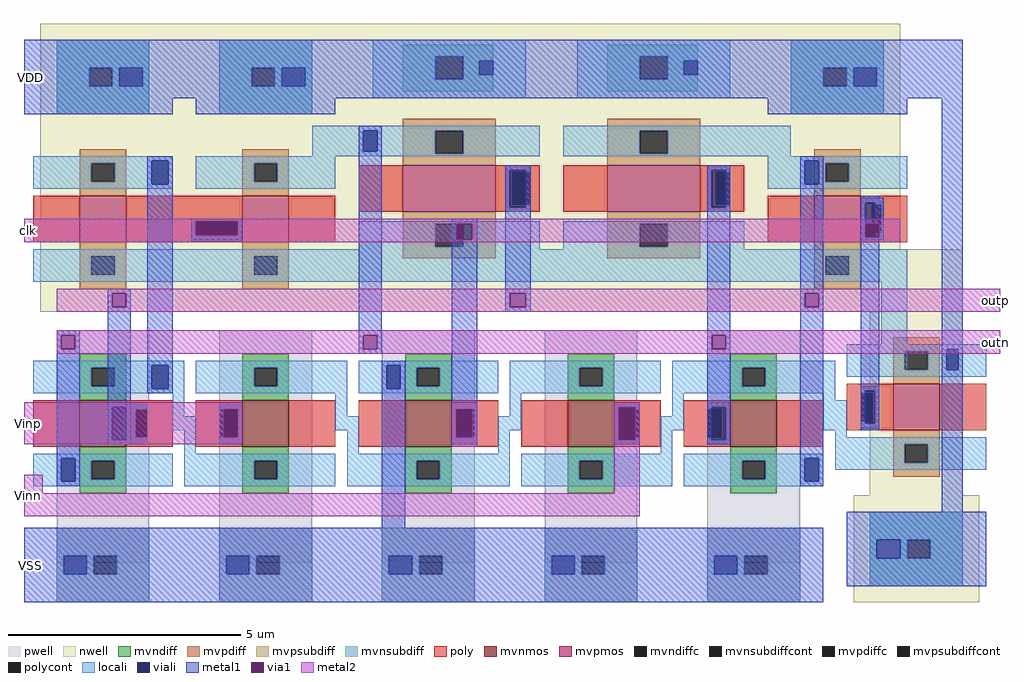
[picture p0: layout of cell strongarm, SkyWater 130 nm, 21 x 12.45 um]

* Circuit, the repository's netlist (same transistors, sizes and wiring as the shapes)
* NGSPICE file created from strongarm.ext - technology: sky130A

.subckt x5v_pfet_1_1 S B G D
X0 D G S B sky130_fd_pr__pfet_g5v0d10v5 ad=1 pd=4 as=1 ps=4 w=1 l=1
.ends

.subckt x5v_pfet_1_2 B D G S
X0 D G S B sky130_fd_pr__pfet_g5v0d10v5 ad=2 pd=6 as=2 ps=6 w=2 l=1
.ends

.subckt x5v_nfet_1_1 S B G D
X0 D G S B sky130_fd_pr__nfet_g5v0d10v5 ad=1 pd=4 as=1 ps=4 w=1 l=1
.ends

.subckt strongarm Vinp Vinn clk outp outn VDD VSS
X5v_pfet_1_1_1 VDD VDD clk outn x5v_pfet_1_1
X5v_pfet_1_1_0 VDD VDD clk 5v_pfet_1_1_0/D x5v_pfet_1_1
X5v_pfet_1_1_2 VDD VDD clk outp x5v_pfet_1_1
X5v_pfet_1_1_3 VDD VDD clk 5v_pfet_1_1_3/D x5v_pfet_1_1
X5v_pfet_1_2_0 VDD outn outp VDD x5v_pfet_1_2
X5v_pfet_1_2_1 VDD outp outn VDD x5v_pfet_1_2
X5v_nfet_1_1_0 5v_pfet_1_1_0/D VSS outp outn x5v_nfet_1_1
X5v_nfet_1_1_2 VSS VSS clk 5v_nfet_1_1_3/S x5v_nfet_1_1
X5v_nfet_1_1_1 5v_nfet_1_1_3/S VSS Vinp 5v_pfet_1_1_0/D x5v_nfet_1_1
X5v_nfet_1_1_3 5v_nfet_1_1_3/S VSS Vinn 5v_pfet_1_1_3/D x5v_nfet_1_1
X5v_nfet_1_1_4 5v_pfet_1_1_3/D VSS outn outp x5v_nfet_1_1
.ends

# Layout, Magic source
magic
tech sky130A
<< nwell >>
rect 15 760 1865 1245
rect 15 625 2000 760
rect 1800 615 2000 625
<< poly >>
rect 200 816 450 875
rect 200 794 354 816
rect 404 794 450 816
rect 200 775 450 794
<< polycont >>
rect 1030 855 1070 925
rect 1470 855 1500 925
rect 354 794 404 816
rect 1805 795 1825 855
rect 220 355 245 415
rect 400 355 430 415
rect 920 355 950 415
rect 1270 355 1305 415
rect 1450 355 1480 415
rect 1780 390 1805 450
<< locali >>
rect 600 1015 750 1025
rect 600 970 710 1015
rect 740 970 750 1015
rect 600 960 750 970
rect 1505 960 1630 1025
rect 1015 930 1070 940
rect 1015 850 1025 930
rect 1060 925 1070 930
rect 1060 850 1070 855
rect 1015 840 1070 850
rect 1450 930 1500 940
rect 1450 850 1460 930
rect 1490 925 1500 930
rect 1490 850 1500 855
rect 1450 840 1500 850
rect 1780 860 1830 870
rect 340 820 450 825
rect 340 790 350 820
rect 440 790 450 820
rect 340 780 450 790
rect 1780 790 1790 860
rect 1810 855 1830 860
rect 1825 795 1830 855
rect 1810 790 1830 795
rect 1780 780 1830 790
rect 0 690 1880 760
rect 1825 555 1880 690
rect 160 420 245 430
rect 160 350 170 420
rect 200 415 245 420
rect 200 355 220 415
rect 300 400 325 520
rect 400 415 450 430
rect 300 370 350 400
rect 200 350 245 355
rect 160 340 245 350
rect 325 250 350 370
rect 440 355 450 415
rect 650 400 675 520
rect 900 415 955 430
rect 650 370 700 400
rect 400 340 450 355
rect 675 250 700 370
rect 900 355 910 415
rect 950 355 955 415
rect 1025 400 1050 520
rect 900 340 955 355
rect 1000 370 1050 400
rect 1250 420 1305 430
rect 1000 250 1025 370
rect 1250 350 1260 420
rect 1295 415 1305 420
rect 1375 400 1400 520
rect 1700 435 1725 520
rect 1845 485 1880 555
rect 1780 455 1820 465
rect 1780 450 1790 455
rect 1295 350 1305 355
rect 1250 340 1305 350
rect 1350 370 1400 400
rect 1450 420 1500 430
rect 1450 415 1460 420
rect 1350 250 1375 370
rect 1450 350 1460 355
rect 1490 350 1500 420
rect 1700 370 1750 435
rect 1780 385 1790 390
rect 1810 385 1820 455
rect 1780 375 1820 385
rect 1450 340 1500 350
rect 1725 285 1750 370
<< viali >>
rect 710 970 740 1015
rect 255 900 290 950
rect 1025 925 1060 930
rect 1025 855 1030 925
rect 1030 855 1060 925
rect 1025 850 1060 855
rect 1460 925 1490 930
rect 1460 855 1470 925
rect 1470 855 1490 925
rect 1660 900 1690 950
rect 1460 850 1490 855
rect 350 816 440 820
rect 350 794 354 816
rect 354 794 404 816
rect 404 794 440 816
rect 350 790 440 794
rect 1790 855 1810 860
rect 1790 795 1805 855
rect 1805 795 1810 855
rect 1790 790 1810 795
rect 255 460 290 510
rect 170 350 200 420
rect 60 260 90 310
rect 410 355 430 415
rect 430 355 440 415
rect 760 460 790 510
rect 910 355 920 415
rect 920 355 945 415
rect 1260 415 1295 420
rect 1260 355 1270 415
rect 1270 355 1295 415
rect 1965 500 1990 545
rect 1790 450 1810 455
rect 1260 350 1295 355
rect 1460 415 1490 420
rect 1460 355 1480 415
rect 1480 355 1490 415
rect 1460 350 1490 355
rect 1790 390 1805 450
rect 1805 390 1810 450
rect 1790 385 1810 390
rect 1660 260 1690 310
<< metal1 >>
rect -20 1085 2000 1210
rect -20 1050 10 1085
rect 700 1015 750 1025
rect 700 970 710 1015
rect 740 970 750 1015
rect 245 950 300 960
rect 245 900 255 950
rect 290 900 300 950
rect 160 665 210 675
rect 160 635 170 665
rect 200 635 210 665
rect 50 575 100 585
rect 50 545 60 575
rect 90 545 100 575
rect 50 310 100 545
rect 160 420 210 635
rect 245 510 300 900
rect 340 820 450 825
rect 340 790 350 820
rect 440 790 450 820
rect 340 775 450 790
rect 700 575 750 970
rect 1650 950 1700 960
rect 1015 930 1070 940
rect 1015 850 1025 930
rect 1060 850 1070 930
rect 700 545 710 575
rect 740 545 750 575
rect 700 535 750 545
rect 900 815 955 825
rect 900 780 910 815
rect 945 780 955 815
rect 245 460 255 510
rect 290 460 300 510
rect 245 450 300 460
rect 750 510 800 520
rect 750 460 760 510
rect 790 460 800 510
rect 160 350 170 420
rect 200 350 210 420
rect 160 340 210 350
rect 400 415 450 430
rect 400 355 410 415
rect 440 355 450 415
rect 400 340 450 355
rect 50 260 60 310
rect 90 260 100 310
rect 50 250 100 260
rect 750 160 800 460
rect 900 415 955 780
rect 1015 665 1070 850
rect 1015 635 1025 665
rect 1060 635 1070 665
rect 1015 625 1070 635
rect 1450 930 1500 940
rect 1450 850 1460 930
rect 1490 850 1500 930
rect 1450 575 1500 850
rect 1450 545 1460 575
rect 1490 545 1500 575
rect 900 355 910 415
rect 945 355 955 415
rect 900 340 955 355
rect 1250 420 1305 430
rect 1250 350 1260 420
rect 1295 350 1305 420
rect 1250 340 1305 350
rect 1450 420 1500 545
rect 1450 350 1460 420
rect 1490 350 1500 420
rect 1450 340 1500 350
rect 1650 900 1660 950
rect 1690 900 1700 950
rect 1650 665 1700 900
rect 1650 635 1660 665
rect 1690 635 1700 665
rect 1650 310 1700 635
rect 1780 870 1820 875
rect 1780 860 1830 870
rect 1780 785 1790 860
rect 1810 815 1830 860
rect 1820 785 1830 815
rect 1780 780 1830 785
rect 1780 455 1820 780
rect 1780 385 1790 455
rect 1810 385 1820 455
rect 1780 370 1820 385
rect 1955 545 2000 1085
rect 1955 500 1965 545
rect 1990 500 2000 545
rect 1650 260 1660 310
rect 1690 260 1700 310
rect 1650 250 1700 260
rect -20 0 1700 160
rect 1955 35 2000 500
<< via1 >>
rect 170 635 200 665
rect 60 545 90 575
rect 350 790 440 820
rect 710 545 740 575
rect 910 780 945 815
rect 410 355 440 415
rect 1025 635 1060 665
rect 1460 545 1490 575
rect 910 355 945 415
rect 1260 350 1295 420
rect 1660 635 1690 665
rect 1790 790 1810 815
rect 1810 790 1820 815
rect 1790 785 1820 790
<< metal2 >>
rect -20 820 1865 825
rect -20 790 350 820
rect 440 815 1865 820
rect 440 790 910 815
rect -20 780 910 790
rect 945 785 1790 815
rect 1820 785 1865 815
rect 945 780 1865 785
rect -20 775 1865 780
rect 50 665 2080 675
rect 50 635 170 665
rect 200 635 1025 665
rect 1060 635 1660 665
rect 1690 635 2080 665
rect 50 625 2080 635
rect 50 575 2080 585
rect 50 545 60 575
rect 90 545 710 575
rect 740 545 1460 575
rect 1490 545 2080 575
rect 50 535 2080 545
rect -20 415 450 430
rect -20 355 410 415
rect 440 355 450 415
rect -20 340 450 355
rect 900 415 955 430
rect 900 355 910 415
rect 945 355 955 415
rect 900 335 955 355
rect 1250 420 1305 430
rect 1250 350 1260 420
rect 1295 350 1305 420
rect -20 235 20 275
rect 1250 235 1305 350
rect -20 185 1305 235
use 5v_nfet_1_1  5v_nfet_1_1_0
transform 0 1 100 -1 0 435
box -150 -100 435 200
use 5v_nfet_1_1  5v_nfet_1_1_1
transform 0 1 450 -1 0 435
box -150 -100 435 200
use 5v_nfet_1_1  5v_nfet_1_1_2
transform 0 1 800 -1 0 435
box -150 -100 435 200
use 5v_nfet_1_1  5v_nfet_1_1_3
transform 0 1 1150 -1 0 435
box -150 -100 435 200
use 5v_nfet_1_1  5v_nfet_1_1_4
transform 0 1 1500 -1 0 435
box -150 -100 435 200
use 5v_pfet_1_1  5v_pfet_1_1_0
transform 0 -1 200 1 0 775
box -150 -100 470 200
use 5v_pfet_1_1  5v_pfet_1_1_1
transform 0 -1 550 1 0 775
box -150 -100 470 200
use 5v_pfet_1_1  5v_pfet_1_1_2
transform 0 -1 1780 1 0 775
box -150 -100 470 200
use 5v_pfet_1_1  5v_pfet_1_1_3
transform 0 1 1850 -1 0 470
box -150 -100 470 200
use 5v_pfet_1_2  5v_pfet_1_2_0
transform 0 -1 995 1 0 840
box -215 -95 400 295
use 5v_pfet_1_2  5v_pfet_1_2_1
transform 0 -1 1435 1 0 840
box -215 -95 400 295
<< labels >>
rlabel metal2 -20 340 0 430 7 Vinp
port 1 w
rlabel metal2 -20 185 0 275 7 Vinn
port 2 w
rlabel metal2 -20 775 0 825 7 clk
port 3 w
rlabel metal2 2060 625 2080 675 3 outp
port 4 e
rlabel metal2 2060 535 2080 585 3 outn
port 5 e
rlabel metal1 -20 0 10 160 7 VSS
port 7 w
rlabel metal1 -20 1050 10 1210 7 VDD
port 6 w
<< end >>

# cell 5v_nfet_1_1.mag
magic
tech sky130A
<< pwell >>
rect -150 -50 350 150
<< mvnmos >>
rect 0 0 100 100
<< mvndiff >>
rect -100 75 0 100
rect -100 25 -70 75
rect -30 25 0 75
rect -100 0 0 25
rect 100 75 200 100
rect 100 25 130 75
rect 170 25 200 75
rect 100 0 200 25
<< mvndiffc >>
rect -70 25 -30 75
rect 130 25 170 75
<< mvpsubdiff >>
rect 275 80 435 150
rect 275 30 335 80
rect 375 30 435 80
rect 275 -50 435 30
<< mvpsubdiffcont >>
rect 335 30 375 80
<< poly >>
rect 0 100 100 200
rect 0 -100 100 0
<< locali >>
rect -85 75 -15 200
rect -85 25 -70 75
rect -30 25 -15 75
rect -85 -100 -15 25
rect 115 75 185 200
rect 115 25 130 75
rect 170 25 185 75
rect 115 -100 185 25
rect 275 80 435 150
rect 275 30 335 80
rect 375 30 435 80
rect 275 15 435 30
rect 275 -35 335 15
rect 375 -35 435 15
rect 275 -50 435 -35
<< viali >>
rect 335 -35 375 15
<< metal1 >>
rect 275 15 435 200
rect 275 -35 335 15
rect 375 -35 435 15
rect 275 -100 435 -35
<< labels >>
rlabel locali -50 195 -50 195 5 S
port 1 s
rlabel poly 50 195 50 195 5 G
port 3 s
rlabel locali 150 195 150 195 5 D
port 4 s
rlabel metal1 360 195 360 195 5 B
port 2 s
<< end >>

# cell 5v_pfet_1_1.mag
magic
tech sky130A
<< nwell >>
rect 240 150 470 185
rect -150 -50 470 150
rect 240 -85 470 -50
<< mvpmos >>
rect 0 0 100 100
<< mvpdiff >>
rect -100 75 0 100
rect -100 25 -70 75
rect -30 25 0 75
rect -100 0 0 25
rect 100 75 200 100
rect 100 25 130 75
rect 170 25 200 75
rect 100 0 200 25
<< mvpdiffc >>
rect -70 25 -30 75
rect 130 25 170 75
<< mvnsubdiff >>
rect 275 80 435 150
rect 275 30 335 80
rect 375 30 435 80
rect 275 -50 435 30
<< mvnsubdiffcont >>
rect 335 30 375 80
<< poly >>
rect 0 100 100 200
rect 0 -100 100 0
<< locali >>
rect -85 75 -15 200
rect -85 25 -70 75
rect -30 25 -15 75
rect -85 -100 -15 25
rect 115 75 185 200
rect 115 25 130 75
rect 170 25 185 75
rect 115 -100 185 25
rect 275 80 435 150
rect 275 30 335 80
rect 375 30 435 80
rect 275 15 435 30
rect 275 -35 335 15
rect 375 -35 435 15
rect 275 -50 435 -35
<< viali >>
rect 335 -35 375 15
<< metal1 >>
rect 275 15 435 200
rect 275 -35 335 15
rect 375 -35 435 15
rect 275 -100 435 -35
<< labels >>
rlabel locali -50 195 -50 195 5 S
port 1 s
rlabel poly 50 195 50 195 5 G
port 3 s
rlabel locali 150 195 150 195 5 D
port 4 s
rlabel metal1 360 195 360 195 5 B
port 2 s
<< end >>

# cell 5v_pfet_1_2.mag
magic
tech sky130A
<< nwell >>
rect -215 -65 370 265
<< mvpmos >>
rect 0 0 100 200
<< mvpdiff >>
rect -100 130 0 200
rect -100 70 -75 130
rect -25 70 0 130
rect -100 0 0 70
rect 100 130 200 200
rect 100 70 125 130
rect 175 70 200 130
rect 100 0 200 70
<< mvpdiffc >>
rect -75 70 -25 130
rect 125 70 175 130
<< mvnsubdiff >>
rect 260 130 360 200
rect 260 70 285 130
rect 335 70 360 130
rect 260 5 360 70
<< mvnsubdiffcont >>
rect 285 70 335 130
<< poly >>
rect 0 200 100 295
rect 0 -95 100 0
<< locali >>
rect -85 130 -20 295
rect -85 70 -75 130
rect -25 70 -20 130
rect -85 -95 -20 70
rect 120 130 185 295
rect 120 70 125 130
rect 175 70 185 130
rect 120 -95 185 70
rect 245 130 370 265
rect 245 70 285 130
rect 335 70 370 130
rect 245 35 370 70
rect 245 5 295 35
rect 325 5 370 35
rect 245 -65 370 5
<< viali >>
rect 295 5 325 35
<< metal1 >>
rect 245 35 370 295
rect 245 5 295 35
rect 325 5 370 35
rect 245 -95 370 5
<< labels >>
rlabel locali -55 260 -55 260 5 S
port 4 s
rlabel poly 55 260 55 260 5 G
port 3 s
rlabel locali 155 260 155 260 5 D
port 2 s
rlabel metal1 320 260 320 260 5 B
port 1 s
<< end >>
